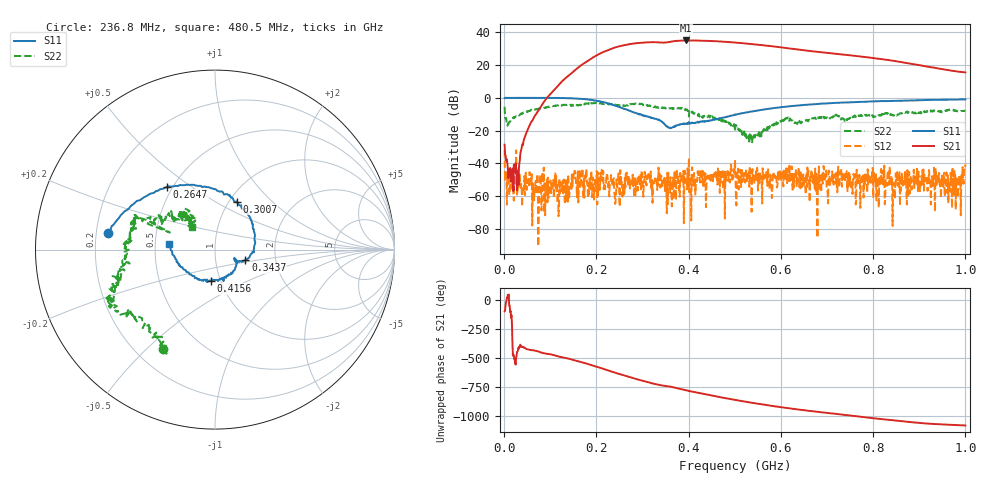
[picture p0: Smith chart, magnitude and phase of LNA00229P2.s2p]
! Created with skrf 1.9.0 (http://scikit-rf.org).
# Hz S RI R 50.0
!freq ReS11 ImS11 ReS21 ImS21 ReS12 ImS12 ReS22 ImS22
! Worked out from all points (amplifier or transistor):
!   1001 points, 1 MHz to 1 GHz, reference 50 ohm
!   highest |S21| = 35.1 dB at 394.6 MHz (marker M1)
!   |S21| within 3 dB of that: 258.8 MHz to 563.2 MHz (304.4 MHz wide, 74.1 % of centre)
!   unconditionally stable (mu >= 1): start of sweep to 85.57 MHz; 231.8 MHz to 400.5 MHz; 400.7 MHz to end of sweep (the widest 3 of 22)
!   at 166.8 MHz: K = 1.33, MAG = 31.1 dB, |S12| = -49.3 dB
!   at 500.5 MHz: K = 1.01, MAG = 35.3 dB, |S12| = -37.9 dB
!   at 1 GHz: K = 1.64, MAG = 23.4 dB, |S12| = -40.6 dB
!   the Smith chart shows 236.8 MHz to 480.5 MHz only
!   S11 on the Smith chart (normalised r, x): 236.8 MHz: 0.25, +0.07; 264.7 MHz: 0.47, +0.41; 300.7 MHz: 1.08, +0.63; 343.7 MHz: 1.40, -0.17; 415.6 MHz: 0.90, -0.32; 480.5 MHz: 0.59, +0.04
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1000000  0.9733 0.00736  -0.00601 -0.0365  -0.0133 0.0207  0.4056 0.3424
1.08892e8  0.5017 -0.8542  -0.8273 -1.557  -0.00277 -0.00161  0.4355 -0.3604
1.67833e8  -0.2661 -0.8846  -10.07 -0.4683  -0.00286 -0.00231  0.0552 -0.6422
2.06794e8  -0.6698 -0.3961  -15.93 15.4  0.00207 -0.00302  -0.1444 -0.6602
2.36764e8  -0.5941 0.0942  -4.158 32.91  -0.00115 -0.00281  -0.2904 -0.5533
2.64736e8  -0.2673 0.3501  19.19 37.19  0.00118 0.0026  -0.4489 -0.3809
2.81719e8  -0.0588 0.352  33.67 30.89  -0.000502 0.000773  -0.5616 -0.3084
3.007e8  0.1211 0.2676  45.21 17.84  -0.00124 0.00126  -0.5551 -0.2084
3.34666e8  0.2184 -0.0148  48.36 -10.47  0.000548 0.00731  -0.4755 -0.0779
3.43657e8  0.1696 -0.0588  46.15 -15.73  -0.0022 0.00184  -0.4804 -0.000862
3.69631e8  0.1145 -0.0612  43.51 -32.34  0.00429 -0.00322  -0.446 0.1607
3.94606e8  0.0724 -0.1466  28.65 -48.87  0.000408 0.00363  -0.4079 0.1707
4.15585e8  -0.0219 -0.1734  12.41 -54.91  -0.000271 0.00234  -0.2714 0.1844
4.45555e8  -0.1614 -0.1219  -10.85 -53.5  0.00218 0.00252  -0.1753 0.1782
4.8052e8  -0.2563 0.0326  -31.57 -40.77  0.00354 0.0026  -0.1302 0.1263
5.005e8  -0.2723 0.1494  -38.91 -29.98  0.0115 0.00529  -0.0714 0.0663
5.4046e8  -0.1817 0.3438  -42.56 -8.112  0.00344 -0.000452  -0.064 0.00949
5.88412e8  0.03 0.4919  -34.56 11.88  0.00235 -0.00318  -0.1413 -0.0799
6.67333e8  0.4006 0.4853  -13.37 22.76  -0.0018 -0.00344  -0.2327 0.0027
7.55245e8  0.68 0.2726  3.191 19.24  0.000364 0.00109  -0.2496 0.0586
8.34166e8  0.7967 0.0201  10.01 10.09  -0.00153 -0.00153  -0.3206 0.0226
1e9  0.7263 -0.5182  5.984 -0.2698  -0.00888 -0.00271  -0.2523 0.2933
